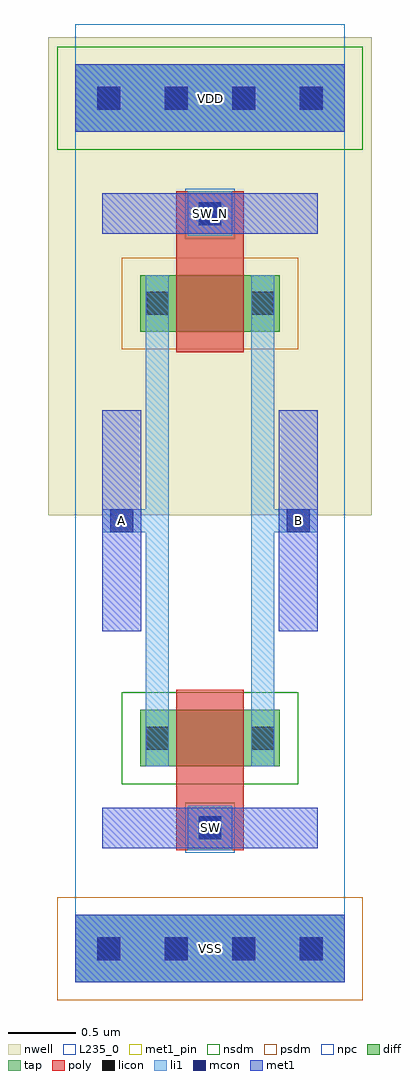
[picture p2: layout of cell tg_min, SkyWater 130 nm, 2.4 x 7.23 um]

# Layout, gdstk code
import gdstk
lib = gdstk.Library(unit=1e-6, precision=1e-09)
def R(c, l, rs):  # rectangles x0, y0, x1, y1
    for r in rs: c.add(gdstk.rectangle(r[:2], r[2:], *l))
def A(c, l, x, y, w, h, nx, ny, dx, dy):  # array of equal rectangles
    R(c, l, [(x+i*dx, y+j*dy, x+i*dx+w, y+j*dy+h) for i in range(nx) for j in range(ny)])
nwell = (64, 20)
diff = (65, 20)
tap = (65, 44)
poly = (66, 20)
licon = (66, 44)
li1 = (67, 20)
mcon = (67, 44)
met1_pin = (68, 16)
met1 = (68, 20)
nsdm = (93, 44)
psdm = (94, 20)
npc = (95, 20)
L235_0 = (235, 0)

nfet_01v8_cdns_795853916 = lib.new_cell('nfet_01v8_CDNS_7958539161979')
R(nfet_01v8_cdns_795853916, diff, [(-0.265,0,0,0.42), (0,0,0.5,0.42), (0.5,0,0.765,0.42)])
R(nfet_01v8_cdns_795853916, poly, [(0,-0.15,0.5,-0.095), (0,-0.095,0.5,0), (0,0,0.5,0.42), (0,0.42,0.5,0.515), (0,0.515,0.5,0.57)])
R(nfet_01v8_cdns_795853916, licon, [(-0.225,0.125,-0.055,0.295), (0.555,0.125,0.725,0.295)])
R(nfet_01v8_cdns_795853916, li1, [(-0.225,0,-0.055,0.42), (0.555,0,0.725,0.42)])
R(nfet_01v8_cdns_795853916, nsdm, [(-0.405,-0.13,0.905,0.55)])

pfet_01v8_cdns_795853916 = lib.new_cell('pfet_01v8_CDNS_7958539161980')
R(pfet_01v8_cdns_795853916, nwell, [(-0.445,-0.18,0.945,0.6)])
R(pfet_01v8_cdns_795853916, diff, [(-0.265,0,0,0.42), (0,0,0.5,0.42), (0.5,0,0.765,0.42)])
R(pfet_01v8_cdns_795853916, poly, [(0,-0.15,0.5,-0.095), (0,-0.095,0.5,0), (0,0,0.5,0.42), (0,0.42,0.5,0.515), (0,0.515,0.5,0.57)])
R(pfet_01v8_cdns_795853916, licon, [(-0.225,0.125,-0.055,0.295), (0.555,0.125,0.725,0.295)])
R(pfet_01v8_cdns_795853916, li1, [(-0.225,0,-0.055,0.42), (0.555,0,0.725,0.42)])
R(pfet_01v8_cdns_795853916, psdm, [(-0.405,-0.13,0.905,0.55)])

tg_min = lib.new_cell('tg_min')
R(tg_min, nwell, [(-0.2,3.46,2.2,7)])
R(tg_min, tap, [(0,0,2,0.5), (0,6.3,2,6.8)])
R(tg_min, poly, [(0.75,0.98,1.25,1.6), (0.835,0.98,1.165,1.31), (0.75,5.24,1.25,5.86), (0.835,5.53,1.165,5.86)])
A(tg_min, licon, 0.165, 0.165, 0.17, 0.17, 4, 2, 0.5, 6.3)
R(tg_min, licon, [(0.915,1.06,1.085,1.23), (0.915,5.61,1.085,5.78)])
R(tg_min, li1, [(0,0,2,0.5), (0.835,0.98,1.165,1.31), (0.525,1.6,0.695,5.24), (1.305,1.6,1.475,5.24), (0.2,3.335,0.695,3.505), (1.305,3.335,1.8,3.505), (0.835,5.53,1.165,5.86), (0,6.3,2,6.8)])
A(tg_min, mcon, 0.165, 0.165, 0.17, 0.17, 4, 2, 0.5, 6.3)
R(tg_min, mcon, [(0.915,1.06,1.085,1.23), (0.26,3.335,0.43,3.505), (1.57,3.335,1.74,3.505), (0.915,5.61,1.085,5.78)])
R(tg_min, met1_pin, [(0,0,2,0.5), (0.2,0.995,1.8,1.295), (0.2,2.6,0.49,4.24), (1.51,2.6,1.8,4.24), (0.2,5.545,1.8,5.845), (0,6.3,2,6.8)])
R(tg_min, met1, [(0,0,2,0.5), (0.2,0.995,1.8,1.295), (0.2,2.6,0.49,4.24), (1.51,2.6,1.8,4.24), (0.2,5.545,1.8,5.845), (0,6.3,2,6.8)])
R(tg_min, nsdm, [(-0.13,6.17,2.13,6.93)])
R(tg_min, psdm, [(-0.13,-0.13,2.13,0.63)])
R(tg_min, npc, [(0.815,0.96,1.185,1.33), (0.815,5.51,1.185,5.88)])
R(tg_min, L235_0, [(0,0,2,7.1)])
tg_min.add(gdstk.Reference(nfet_01v8_cdns_795853916, (0.75,1.6)))
tg_min.add(gdstk.Reference(pfet_01v8_cdns_795853916, (0.75,4.82)))
tg_min.add(gdstk.Label('VDD', (1,6.55), layer=68, texttype=5))
tg_min.add(gdstk.Label('VSS', (1,0.25), layer=68, texttype=5))
tg_min.add(gdstk.Label('B', (1.655,3.42), layer=68, texttype=5))
tg_min.add(gdstk.Label('A', (0.345,3.42), layer=68, texttype=5))
tg_min.add(gdstk.Label('SW_N', (1,5.695), layer=68, texttype=5))
tg_min.add(gdstk.Label('SW', (1,1.145), layer=68, texttype=5))

lib.write_gds('tg_min.gds')
